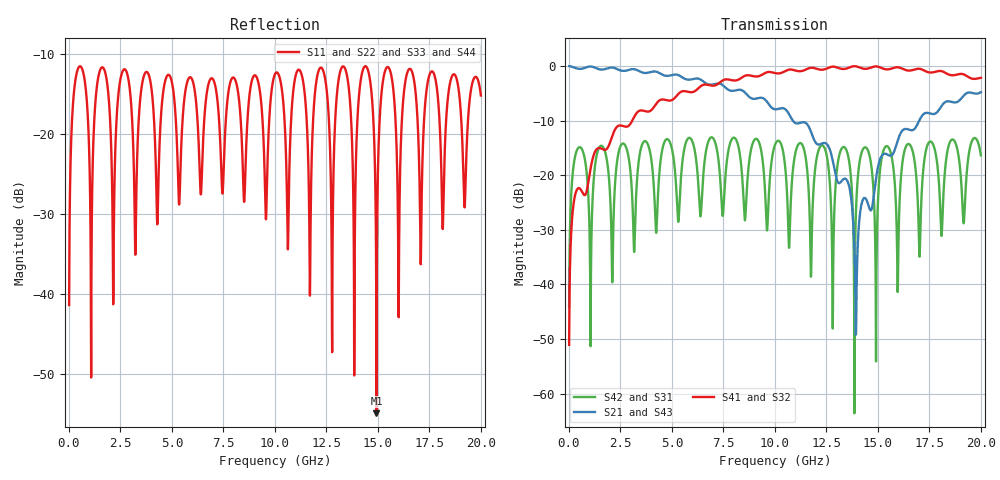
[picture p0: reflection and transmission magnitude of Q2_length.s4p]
! Touchstone generated by fitter/viewer
# HZ S  RI R 5.000000e+001
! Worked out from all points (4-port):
!   2000 points, 10 MHz to 20 GHz, reference 50 ohm
!   strongest paths, dB at 10 MHz, 5.01 GHz, 10.01 GHz, 15.01 GHz, 20 GHz:
!     S41: -51.1, -6.2, -1.3, -0.1, -2.1
!     S32: -51.1, -6.2, -1.3, -0.1, -2.1
!     S21: 0.0, -1.6, -7.9, -18.4, -4.8
!     S43: 0.0, -1.6, -7.9, -18.4, -4.8
!     S42: -44.2, -15.3, -14.4, -24.2, -16.3
!     S31: -44.2, -15.3, -14.4, -24.2, -16.3
!   lowest |S11| = -54.9 dB at 14.93 GHz (marker M1), VSWR 1.00, Z = 50.1 - j0.11 ohm
!   |S11| at or under -10 dB: start of sweep to end of sweep
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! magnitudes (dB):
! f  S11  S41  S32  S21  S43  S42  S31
! 10 MHz  -41.4  -51.1  -51.1  0.0  0.0  -44.2  -44.2
! 430 MHz  -11.9  -22.4  -22.4  -0.5  -0.5  -15.1  -15.1
! 2.36 GHz  -16.3  -11.0  -11.0  -0.6  -0.6  -16.9  -16.9
! 11.52 GHz  -17.3  -0.6  -0.6  -10.5  -10.5  -17.4  -17.4
! 13.94 GHz  -22.8  0.0  0.0  -48.9  -48.9  -26.2  -26.2
! 14.93 GHz  -54.9  0.0  0.0  -20.1  -20.1  -37.5  -37.5
! 20 GHz  -15.2  -2.1  -2.1  -4.8  -4.8  -16.3  -16.3
